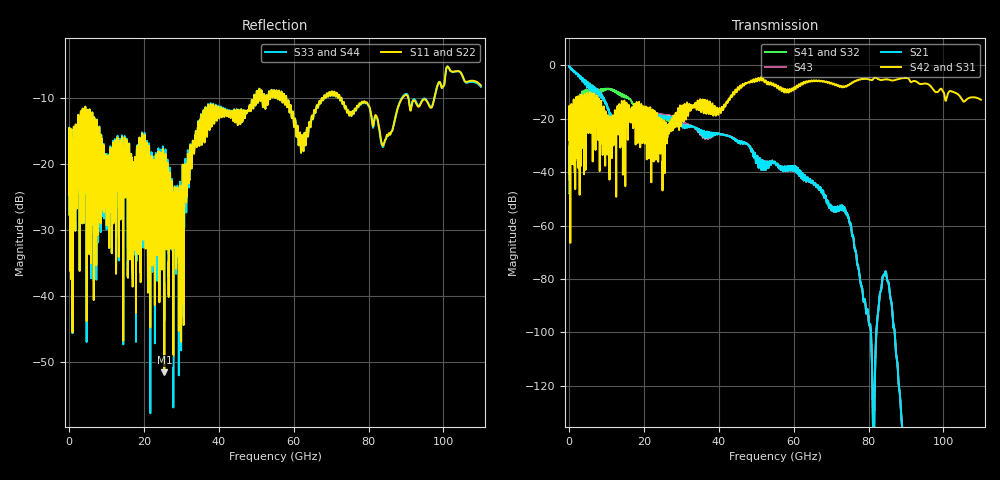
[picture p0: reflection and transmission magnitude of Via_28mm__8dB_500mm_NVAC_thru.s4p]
!4 port subset of full cascaded channels using these ports:3 1 4 2
# Hz S RI R 50
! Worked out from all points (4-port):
!   11000 points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, 10 MHz to 110 GHz, reference 50 ohm
!   strongest paths, dB at 10 MHz, 27.51 GHz, 55.01 GHz, 82.51 GHz, 110 GHz:
!     S42: -27.8, -21.3, -7.6, -5.1, -12.9
!     S31: -27.8, -21.3, -7.6, -5.1, -12.9
!     S21: -0.3, -20.0, -36.2, -92.8, -
!     S43: -0.3, -19.7, -36.2, -92.7, -
!     S41: -40.4, -20.8, -36.2, -92.8, -
!     S32: -40.4, -20.8, -36.2, -92.8, -
!   lowest |S11| = -51.6 dB at 25.44 GHz (marker M1), VSWR 1.01, Z = 49.8 + j0.181 ohm
!   |S11| at or under -10 dB: start of sweep to 49.39 GHz; 58.04 GHz to 67.48 GHz (9.438 GHz wide, 15 % of centre); 72.79 GHz to 88.94 GHz (16.15 GHz wide, 20 % of centre) (the widest 3 of 17)
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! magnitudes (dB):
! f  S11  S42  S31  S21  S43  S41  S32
! 10 MHz  -24.6  -27.8  -27.8  -0.3  -0.3  -40.4  -40.4
! 4.46 GHz  -17.0  -15.8  -15.8  -6.3  -6.3  -9.9  -9.9
! 25.44 GHz  -51.6  -26.6  -26.6  -19.3  -18.7  -20.0  -19.9
! 65.37 GHz  -12.1  -5.6  -5.6  -44.6  -44.6  -44.6  -44.6
! 74.02 GHz  -11.4  -7.9  -7.9  -55.1  -55.2  -55.1  -55.1
! 78.21 GHz  -10.5  -5.1  -5.1  -83.5  -83.5  -83.5  -83.5
! 110 GHz  -8.1  -12.9  -12.9  -  -  -  -
